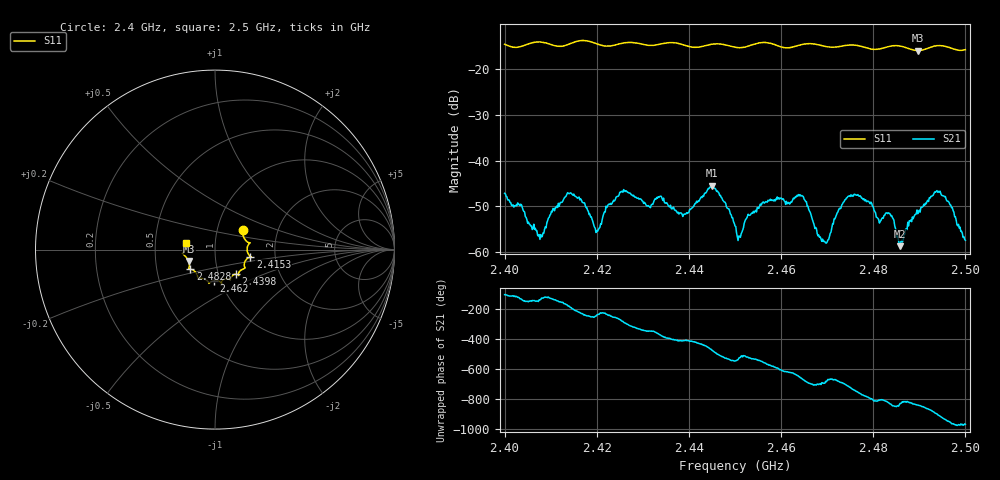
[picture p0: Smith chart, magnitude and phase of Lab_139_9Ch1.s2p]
# Hz S RI R 50
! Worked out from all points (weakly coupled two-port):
!   601 points, 2.4 GHz to 2.5 GHz, reference 50 ohm
!   highest |S21| = -45.50 dB at 2.445 GHz (marker M1); lowest = -58.7 dB at 2.4858 GHz (marker M2)
!   lowest |S11| = -15.9 dB at 2.4897 GHz (marker M3), VSWR 1.38, Z = 36.9 - j4.81 ohm
!   |S11| at or under -10 dB: start of sweep to end of sweep
!   S12 and S22 are empty: the file has one direction only
!   S11 on the Smith chart (normalised r, x): 2.4 GHz: 1.33, +0.29; 2.4153 GHz: 1.48, -0.12; 2.4398 GHz: 1.21, -0.34; 2.462 GHz: 0.93, -0.33; 2.4828 GHz: 0.74, -0.17; 2.5 GHz: 0.72, +0.06
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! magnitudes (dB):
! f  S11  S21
! 2.4 GHz  -14.5  -47.2
! 2.4077 GHz  -14.0  -57.3
! 2.4153 GHz  -14.0  -47.8
! 2.4167 GHz  -13.7  -48.6
! 2.4202 GHz  -14.5  -55.5
! 2.4255 GHz  -14.3  -46.7
! 2.4333 GHz  -14.6  -47.9
! 2.4398 GHz  -15.0  -51.4
! 2.445 GHz  -14.5  -45.5
! 2.45 GHz  -15.1  -54.3
! 2.451 GHz  -15.3  -56.6
! 2.462 GHz  -15.2  -49.3
! 2.4643 GHz  -14.6  -47.8
! 2.4667 GHz  -14.4  -52.5
! 2.4697 GHz  -15.0  -58.0
! 2.4747 GHz  -14.7  -47.8
! 2.4828 GHz  -15.1  -51.4
! 2.4833 GHz  -15.0  -51.4
! 2.4858 GHz  -14.9  -58.7
! 2.4897 GHz  -15.9  -51.6
! 2.4942 GHz  -14.8  -46.7
! 2.5 GHz  -15.7  -57.5
